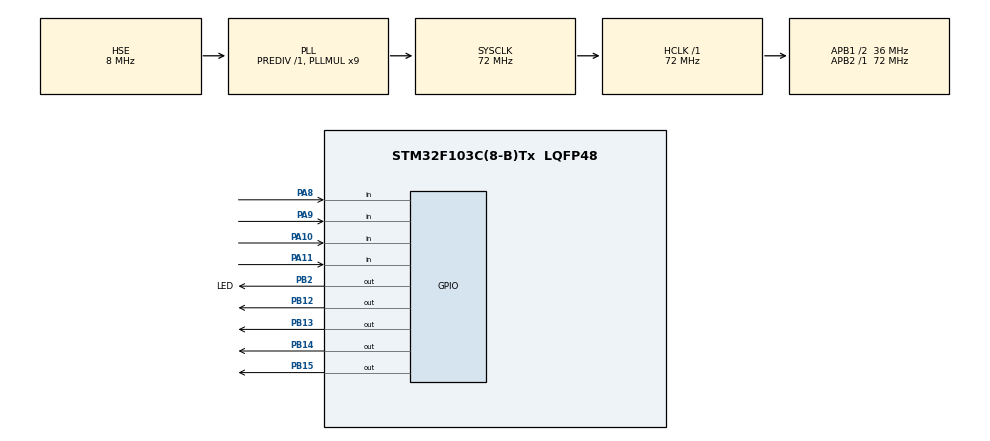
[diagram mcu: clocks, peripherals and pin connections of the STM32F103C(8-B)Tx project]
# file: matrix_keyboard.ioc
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Mcu.Family=STM32F1
Mcu.Name=STM32F103C(8-B)Tx
Mcu.Package=LQFP48
NVIC.PriorityGroup=NVIC_PRIORITYGROUP_4
PA10.GPIO_Mode=GPIO_MODE_INPUT
PA10.GPIO_PuPd=GPIO_PULLUP
PA10.Signal=GPIO_Input
PA11.GPIO_Mode=GPIO_MODE_INPUT
PA11.GPIO_PuPd=GPIO_PULLUP
PA11.Signal=GPIO_Input
PA13.Mode=Serial_Wire
PA13.Signal=SYS_JTMS-SWDIO
PA14.Mode=Serial_Wire
PA14.Signal=SYS_JTCK-SWCLK
PA8.GPIO_Mode=GPIO_MODE_INPUT
PA8.GPIO_PuPd=GPIO_PULLUP
PA8.Signal=GPIO_Input
PA9.GPIO_Mode=GPIO_MODE_INPUT
PA9.GPIO_PuPd=GPIO_PULLUP
PA9.Signal=GPIO_Input
PB12.GPIO_ModeDefaultOutputPP=GPIO_MODE_OUTPUT_OD
PB12.GPIO_PuPd=GPIO_NOPULL
PB12.Signal=GPIO_Output
PB13.GPIO_ModeDefaultOutputPP=GPIO_MODE_OUTPUT_OD
PB13.GPIO_PuPd=GPIO_NOPULL
PB13.Signal=GPIO_Output
PB14.GPIO_ModeDefaultOutputPP=GPIO_MODE_OUTPUT_OD
PB14.GPIO_PuPd=GPIO_NOPULL
PB14.Signal=GPIO_Output
PB15.GPIO_ModeDefaultOutputPP=GPIO_MODE_OUTPUT_OD
PB15.GPIO_PuPd=GPIO_NOPULL
PB15.Signal=GPIO_Output
PB2.GPIO_Label=LED
PB2.GPIO_ModeDefaultOutputPP=GPIO_MODE_OUTPUT_PP
PB2.GPIO_PuPd=GPIO_NOPULL
PB2.Signal=GPIO_Output
PD0-OSC_IN.Mode=HSE-External-Oscillator
PD0-OSC_IN.Signal=RCC_OSC_IN
PD1-OSC_OUT.Mode=HSE-External-Oscillator
PD1-OSC_OUT.Signal=RCC_OSC_OUT
ProjectManager.HeapSize=0x200
ProjectManager.StackSize=0x400
ProjectManager.TargetToolchain=STM32CubeIDE
RCC.AHBFreq_Value=72000000
RCC.APB1CLKDivider=RCC_HCLK_DIV2
RCC.APB1Freq_Value=36000000
RCC.APB1TimFreq_Value=72000000
RCC.APB2Freq_Value=72000000
RCC.APB2TimFreq_Value=72000000
RCC.HCLKFreq_Value=72000000
RCC.PLLMUL=RCC_PLL_MUL9
RCC.PLLSourceVirtual=RCC_PLLSOURCE_HSE
RCC.SYSCLKFreq_VALUE=72000000
RCC.SYSCLKSource=RCC_SYSCLKSOURCE_PLLCLK
RCC.USBFreq_Value=72000000
board=custom

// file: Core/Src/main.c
/* USER CODE BEGIN Header */
/**
  ******************************************************************************
  * @file           : main.c
  * @brief          : Main program body
  ******************************************************************************
  * @attention
  *
  * Copyright (c) 2025 STMicroelectronics.
  * All rights reserved.
  *
  * This software is licensed under terms that can be found in the LICENSE file
  * in the root directory of this software component.
  * If no LICENSE file comes with this software, it is provided AS-IS.
  *
  ******************************************************************************
  */
/* USER CODE END Header */
#include "main.h"
#include "gpio.h"

/* USER CODE BEGIN Includes */
#include "matrix_keyboard.h"
/* USER CODE END Includes */

void SystemClock_Config(void);

/* USER CODE BEGIN 0 */
char matrix_char;
/* USER CODE END 0 */

int main(void)
{

  /* MCU Configuration--------------------------------------------------------*/

  /* Reset of all peripherals, Initializes the Flash interface and the Systick. */
  HAL_Init();

  /* Configure the system clock */
  SystemClock_Config();

  /* Initialize all configured peripherals */
  MX_GPIO_Init();
  /* USER CODE BEGIN 2 */
  {
        matrix_keyboard_t matrix_keyboard = {
            .cols = {
                {GPIOB, GPIO_PIN_15},
                {GPIOB, GPIO_PIN_14},
                {GPIOB, GPIO_PIN_13},
                {GPIOB, GPIO_PIN_12},
            },
            .strs = {
                {GPIOA, GPIO_PIN_11},
                {GPIOA, GPIO_PIN_10},
                {GPIOA, GPIO_PIN_9},
                {GPIOA, GPIO_PIN_8},
            }
        };

        if (!matrix_keyboard_init (&matrix_keyboard))
            Error_Handler ();
  }
  /* USER CODE END 2 */

  /* Infinite loop */
  /* USER CODE BEGIN WHILE */
  while (1)
  {
	  HAL_GPIO_TogglePin(LED_GPIO_Port, LED_Pin);
	  HAL_Delay(300);

      matrix_char = matrix_keyboard_get_char ();
    /* USER CODE END WHILE */

  }
}

void SystemClock_Config(void)
{
  RCC_OscInitTypeDef RCC_OscInitStruct = {0};
  RCC_ClkInitTypeDef RCC_ClkInitStruct = {0};

  /** Initializes the RCC Oscillators according to the specified parameters
  * in the RCC_OscInitTypeDef structure.
  */
  RCC_OscInitStruct.OscillatorType = RCC_OSCILLATORTYPE_HSE;
  RCC_OscInitStruct.HSEState = RCC_HSE_ON;
  RCC_OscInitStruct.HSEPredivValue = RCC_HSE_PREDIV_DIV1;
  RCC_OscInitStruct.HSIState = RCC_HSI_ON;
  RCC_OscInitStruct.PLL.PLLState = RCC_PLL_ON;
  RCC_OscInitStruct.PLL.PLLSource = RCC_PLLSOURCE_HSE;
  RCC_OscInitStruct.PLL.PLLMUL = RCC_PLL_MUL9;
  if (HAL_RCC_OscConfig(&RCC_OscInitStruct) != HAL_OK)
  {
    Error_Handler();
  }

  /** Initializes the CPU, AHB and APB buses clocks
  */
  RCC_ClkInitStruct.ClockType = RCC_CLOCKTYPE_HCLK|RCC_CLOCKTYPE_SYSCLK
                              |RCC_CLOCKTYPE_PCLK1|RCC_CLOCKTYPE_PCLK2;
  RCC_ClkInitStruct.SYSCLKSource = RCC_SYSCLKSOURCE_PLLCLK;
  RCC_ClkInitStruct.AHBCLKDivider = RCC_SYSCLK_DIV1;
  RCC_ClkInitStruct.APB1CLKDivider = RCC_HCLK_DIV2;
  RCC_ClkInitStruct.APB2CLKDivider = RCC_HCLK_DIV1;

  if (HAL_RCC_ClockConfig(&RCC_ClkInitStruct, FLASH_LATENCY_2) != HAL_OK)
  {
    Error_Handler();
  }
}

void Error_Handler(void)
{
  __disable_irq();
  while (1)
  {
  }
}
